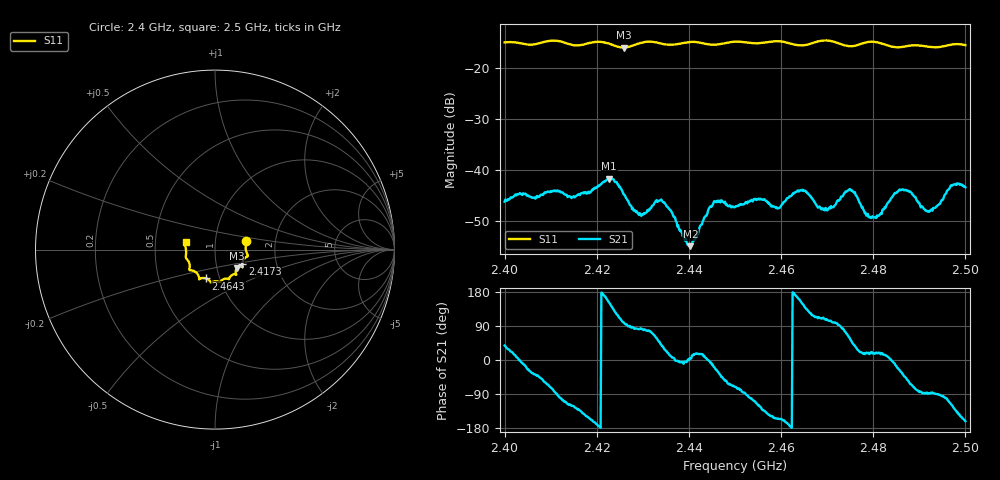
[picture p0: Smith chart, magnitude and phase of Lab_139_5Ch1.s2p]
# Hz S RI R 50
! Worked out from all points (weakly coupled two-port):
!   601 points, 2.4 GHz to 2.5 GHz, reference 50 ohm
!   highest |S21| = -41.67 dB at 2.4227 GHz (marker M1); lowest = -54.9 dB at 2.4403 GHz (marker M2)
!   lowest |S11| = -15.9 dB at 2.4258 GHz (marker M3), VSWR 1.38, Z = 62.4 - j13.3 ohm
!   |S11| at or under -10 dB: start of sweep to end of sweep
!   S12 and S22 are empty: the file has one direction only
!   S11 on the Smith chart (normalised r, x): 2.4 GHz: 1.41, +0.14; 2.4173 GHz: 1.34, -0.23; 2.4643 GHz: 0.86, -0.28; 2.5 GHz: 0.72, +0.06
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2.4e9  0.1732 0.049  0.00385 0.00303  0 0  0 0
2.416667e9  0.1527 -0.0745  -0.00431 -0.0041  0 0  0 0
2.417333e9  0.1519 -0.082  -0.00488 -0.00361  0 0  0 0
2.422667e9  0.1478 -0.0941  -0.00727 0.00389  0 0  0 0
2.425833e9  0.1223 -0.1036  -0.000947 0.0057  0 0  0 0
2.4295e9  0.1166 -0.1346  0.000401 0.00362  0 0  0 0
2.433333e9  0.1127 -0.1377  0.00308 0.0039  0 0  0 0
2.440333e9  0.0785 -0.1642  0.00179 0.000138  0 0  0 0
2.445667e9  0.0504 -0.1634  0.00457 -0.00186  0 0  0 0
2.45e9  0.0286 -0.181  0.00143 -0.00409  0 0  0 0
2.4555e9  -0.00262 -0.1772  -0.0029 -0.00437  0 0  0 0
2.459333e9  -0.0231 -0.1836  -0.00384 -0.00184  0 0  0 0
2.464333e9  -0.0501 -0.1606  -0.00571 0.00283  0 0  0 0
2.466667e9  -0.0761 -0.1591  -0.00255 0.00471  0 0  0 0
2.469667e9  -0.0883 -0.1661  -0.00119 0.00409  0 0  0 0
2.475167e9  -0.1079 -0.1252  0.00388 0.005  0 0  0 0
2.479667e9  -0.1432 -0.1138  0.0032 0.00124  0 0  0 0
2.483333e9  -0.1406 -0.0897  0.00482 0.000602  0 0  0 0
2.486833e9  -0.154 -0.0564  0.00456 -0.00444  0 0  0 0
2.492333e9  -0.1611 -0.0219  9.39e-05 -0.004  0 0  0 0
2.497167e9  -0.1696 0.0278  -0.00356 -0.00609  0 0  0 0
2.5e9  -0.1637 0.0426  -0.00644 -0.00216  0 0  0 0
